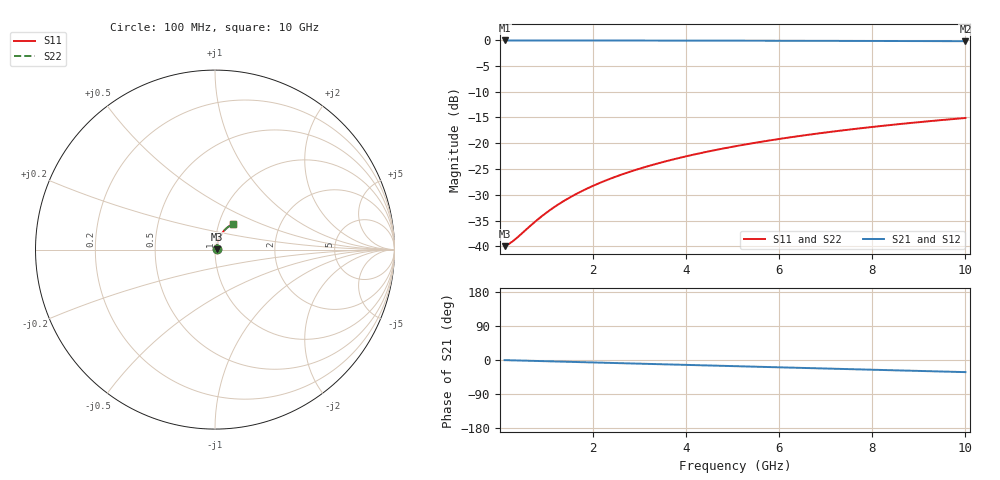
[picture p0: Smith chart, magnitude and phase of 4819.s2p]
# Hz S RI R 50.00
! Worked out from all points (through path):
!   100 points, 100 MHz to 10 GHz, reference 50 ohm
!   highest |S21| = -0.09 dB at 100 MHz (marker M1); lowest = -0.2 dB at 10 GHz (marker M2)
!   group delay of S21, straight-line fit = 8.89 ps
!   lowest |S11| = -40.0 dB at 100 MHz (marker M3), VSWR 1.02, Z = 51 + j0.185 ohm
!   |S11| at or under -10 dB: start of sweep to end of sweep
!   |S22| runs from -40.0 to -15.1 dB; largest |S21 - S12| = 0
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1e8  0.00989 0.00181  0.9901 -0.00558  0.9901 -0.00558  0.00989 0.00181
2e8  0.00998 0.00362  0.99 -0.0112  0.99 -0.0112  0.00998 0.00362
3e8  0.0101 0.00543  0.9898 -0.0167  0.9898 -0.0167  0.0101 0.00543
8e8  0.0108 0.0145  0.9887 -0.0446  0.9887 -0.0446  0.0108 0.0145
9e8  0.011 0.0163  0.9884 -0.0502  0.9884 -0.0502  0.011 0.0163
1.1e9  0.0114 0.0199  0.9877 -0.0613  0.9877 -0.0613  0.0114 0.0199
1.4e9  0.0122 0.0252  0.9863 -0.078  0.9863 -0.078  0.0122 0.0252
1.6e9  0.0129 0.0288  0.9852 -0.0891  0.9852 -0.0891  0.0129 0.0288
1.8e9  0.0136 0.0323  0.984 -0.1001  0.984 -0.1001  0.0136 0.0323
2.1e9  0.0148 0.0376  0.9819 -0.1167  0.9819 -0.1167  0.0148 0.0376
2.5e9  0.0167 0.0446  0.9787 -0.1387  0.9787 -0.1387  0.0167 0.0446
2.9e9  0.019 0.0514  0.9749 -0.1606  0.9749 -0.1606  0.019 0.0514
3.4e9  0.0221 0.0599  0.9695 -0.1878  0.9695 -0.1878  0.0221 0.0599
3.8e9  0.025 0.0665  0.9645 -0.2094  0.9645 -0.2094  0.025 0.0665
4.2e9  0.0282 0.0729  0.959 -0.2309  0.959 -0.2309  0.0282 0.0729
4.6e9  0.0317 0.0792  0.953 -0.2522  0.953 -0.2522  0.0317 0.0792
5.1e9  0.0364 0.0869  0.9448 -0.2785  0.9448 -0.2785  0.0364 0.0869
5.9e9  0.0448 0.0985  0.93 -0.32  0.93 -0.32  0.0448 0.0985
6.7e9  0.0542 0.1092  0.9134 -0.3605  0.9134 -0.3605  0.0542 0.1092
7.5e9  0.0645 0.1191  0.8948 -0.4  0.8948 -0.4  0.0645 0.1191
8.4e9  0.077 0.129  0.8719 -0.4431  0.8719 -0.4431  0.077 0.129
1e10  0.1013 0.1433  0.826 -0.5158  0.826 -0.5158  0.1013 0.1433
